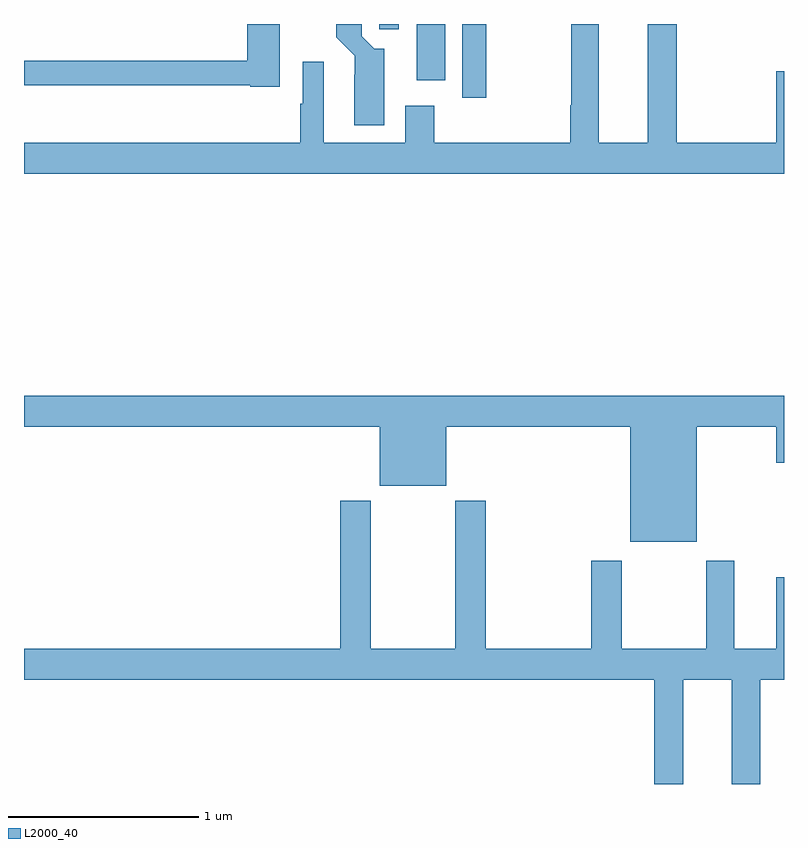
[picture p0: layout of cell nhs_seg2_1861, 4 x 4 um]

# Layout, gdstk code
import gdstk
lib = gdstk.Library(unit=1e-6, precision=1e-09)
def R(c, l, rs):  # rectangles x0, y0, x1, y1
    for r in rs: c.add(gdstk.rectangle(r[:2], r[2:], *l))
def P(c, l, *ps):  # polygons
    for p in ps: c.add(gdstk.Polygon(p, *l))
L2000_40 = (2000, 40)

nhs_seg2_1861 = lib.new_cell('nhs_seg2_1861')
R(nhs_seg2_1861, L2000_40, [(211.307,605.412,211.434,605.8), (211.067,605.505,211.216,605.8), (210.869,605.772,210.973,605.8)])
P(nhs_seg2_1861, L2000_40, [(213,605.551),(212.96,605.551),(212.96,605.176),(212.435,605.176),(212.435,605.8),(212.282,605.8),(212.282,605.176),(212.026,605.176),(212.026,605.8),(211.879,605.8),(211.879,605.372),(211.874,605.372),(211.874,605.176),(211.16,605.176),(211.16,605.371),(211.007,605.371),(211.007,605.176),(210.577,605.176),(210.577,605.602),(210.467,605.602),(210.467,605.381),(210.455,605.381),(210.455,605.176),(209,605.176),(209,605.012),(213,605.012)],
  [(210.895,605.67),(210.843,605.67),(210.777,605.736),(210.777,605.8),(210.644,605.8),(210.644,605.729),(210.741,605.632),(210.741,605.534),(210.737,605.534),(210.737,605.267),(210.895,605.267)],
  [(210.346,605.8),(210.176,605.8),(210.176,605.606),(209,605.606),(209,605.478),(210.192,605.478),(210.192,605.47),(210.346,605.47)],
  [(212.542,603.68),(212.96,603.68),(212.96,603.492),(213,603.492),(213,603.844),(209,603.844),(209,603.68),(210.872,603.68),(210.872,603.371),(211.222,603.371),(211.222,603.68),(212.192,603.68),(212.192,603.074),(212.542,603.074)],
  [(212.47,602.348),(212.726,602.348),(212.726,601.8),(212.874,601.8),(212.874,602.348),(213,602.348),(213,602.887),(212.96,602.887),(212.96,602.512),(212.737,602.512),(212.737,602.974),(212.59,602.974),(212.59,602.512),(212.145,602.512),(212.145,602.974),(211.985,602.974),(211.985,602.512),(211.43,602.512),(211.43,603.292),(211.27,603.292),(211.27,602.512),(210.825,602.512),(210.825,603.292),(210.665,603.292),(210.665,602.512),(209,602.512),(209,602.348),(212.318,602.348),(212.318,601.8),(212.47,601.8)])

lib.write_gds('nhs_seg2_1861.gds')
